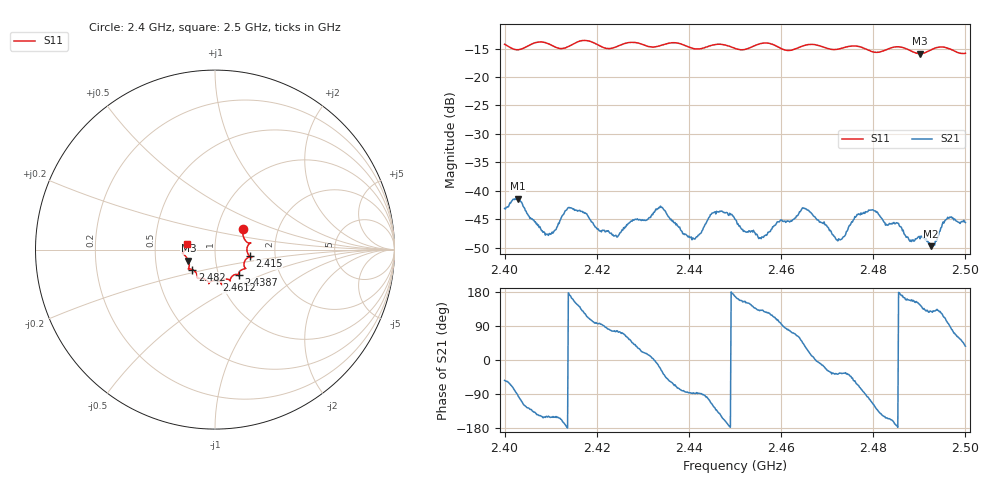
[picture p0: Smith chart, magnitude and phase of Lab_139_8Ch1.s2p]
# Hz S RI R 50
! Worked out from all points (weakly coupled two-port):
!   601 points, 2.4 GHz to 2.5 GHz, reference 50 ohm
!   highest |S21| = -41.40 dB at 2.4028 GHz (marker M1); lowest = -49.8 dB at 2.4925 GHz (marker M2)
!   lowest |S11| = -15.9 dB at 2.4902 GHz (marker M3), VSWR 1.38, Z = 36.8 - j4.63 ohm
!   |S11| at or under -10 dB: start of sweep to end of sweep
!   S12 and S22 are empty: the file has one direction only
!   S11 on the Smith chart (normalised r, x): 2.4 GHz: 1.33, +0.31; 2.415 GHz: 1.47, -0.11; 2.4387 GHz: 1.24, -0.36; 2.4612 GHz: 0.96, -0.34; 2.482 GHz: 0.76, -0.17; 2.5 GHz: 0.73, +0.05
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2.4e9  0.1579 0.1125  0.00411 -0.00562  0 0  0 0
2.402833e9  0.1608 0.0646  -0.000281 -0.00851  0 0  0 0
2.409333e9  0.1942 0.0353  -0.00362 -0.00203  0 0  0 0
2.415e9  0.1924 -0.0366  -0.00635 0.00274  0 0  0 0
2.416667e9  0.2037 -0.0442  -0.00448 0.00481  0 0  0 0
2.424167e9  0.1616 -0.0872  0.00106 0.00391  0 0  0 0
2.433333e9  0.1321 -0.1315  0.00677 -0.00158  0 0  0 0
2.438667e9  0.1309 -0.1411  0.000642 -0.00413  0 0  0 0
2.4415e9  0.1046 -0.1419  0.000103 -0.00387  0 0  0 0
2.4455e9  0.0832 -0.173  -0.00366 -0.00529  0 0  0 0
2.45e9  0.0686 -0.1647  -0.00547 0.00115  0 0  0 0
2.455667e9  0.0356 -0.1938  -0.00248 0.00285  0 0  0 0
2.461167e9  0.0101 -0.1712  0.00071 0.0053  0 0  0 0
2.466667e9  -0.0345 -0.1904  0.00617 0.00118  0 0  0 0
2.4725e9  -0.0724 -0.1604  0.00305 -0.00223  0 0  0 0
2.476833e9  -0.0968 -0.1581  0.00238 -0.00578  0 0  0 0
2.482e9  -0.1261 -0.1112  -0.00464 -0.00311  0 0  0 0
2.483333e9  -0.1398 -0.1085  -0.00455 -0.00213  0 0  0 0
2.490167e9  -0.1482 -0.0612  -0.0031 0.00215  0 0  0 0
2.4925e9  -0.1702 -0.0305  -0.00203 0.00254  0 0  0 0
2.496167e9  -0.1786 -0.0161  -0.00076 0.00579  0 0  0 0
2.5e9  -0.1582 0.0326  0.00422 0.00311  0 0  0 0
